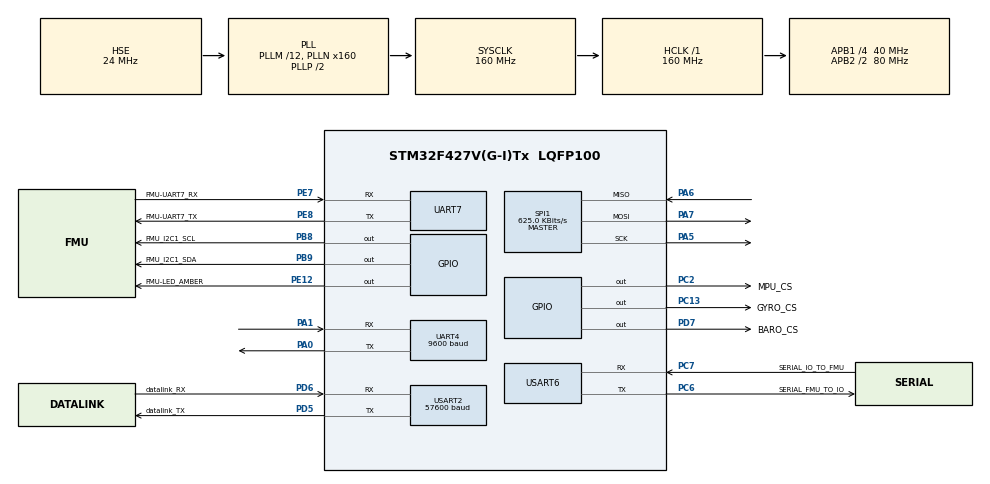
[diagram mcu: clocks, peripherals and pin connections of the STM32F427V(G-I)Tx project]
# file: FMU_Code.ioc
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Dma.Request0=UART4_RX
Dma.Request1=UART7_RX
Dma.Request2=USART6_RX
Dma.Request3=USART6_TX
Dma.Request4=USART2_RX
Dma.Request5=USART2_TX
Dma.UART4_RX.0.Direction=DMA_PERIPH_TO_MEMORY
Dma.UART4_RX.0.FIFOMode=DMA_FIFOMODE_DISABLE
Dma.UART4_RX.0.Instance=DMA1_Stream2
Dma.UART4_RX.0.MemDataAlignment=DMA_MDATAALIGN_BYTE
Dma.UART4_RX.0.MemInc=DMA_MINC_ENABLE
Dma.UART4_RX.0.Mode=DMA_CIRCULAR
Dma.UART4_RX.0.PeriphDataAlignment=DMA_PDATAALIGN_BYTE
Dma.UART4_RX.0.PeriphInc=DMA_PINC_DISABLE
Dma.UART4_RX.0.Priority=DMA_PRIORITY_MEDIUM
Dma.UART7_RX.1.Direction=DMA_PERIPH_TO_MEMORY
Dma.UART7_RX.1.FIFOMode=DMA_FIFOMODE_DISABLE
Dma.UART7_RX.1.Instance=DMA1_Stream3
Dma.UART7_RX.1.MemDataAlignment=DMA_MDATAALIGN_BYTE
Dma.UART7_RX.1.MemInc=DMA_MINC_ENABLE
Dma.UART7_RX.1.Mode=DMA_CIRCULAR
Dma.UART7_RX.1.PeriphDataAlignment=DMA_PDATAALIGN_BYTE
Dma.UART7_RX.1.PeriphInc=DMA_PINC_DISABLE
Dma.UART7_RX.1.Priority=DMA_PRIORITY_LOW
Dma.USART2_RX.4.Direction=DMA_PERIPH_TO_MEMORY
Dma.USART2_RX.4.FIFOMode=DMA_FIFOMODE_DISABLE
Dma.USART2_RX.4.Instance=DMA1_Stream5
Dma.USART2_RX.4.MemDataAlignment=DMA_MDATAALIGN_BYTE
Dma.USART2_RX.4.MemInc=DMA_MINC_ENABLE
Dma.USART2_RX.4.Mode=DMA_CIRCULAR
Dma.USART2_RX.4.PeriphDataAlignment=DMA_PDATAALIGN_BYTE
Dma.USART2_RX.4.PeriphInc=DMA_PINC_DISABLE
Dma.USART2_RX.4.Priority=DMA_PRIORITY_HIGH
Dma.USART2_TX.5.Direction=DMA_MEMORY_TO_PERIPH
Dma.USART2_TX.5.FIFOMode=DMA_FIFOMODE_DISABLE
Dma.USART2_TX.5.Instance=DMA1_Stream6
Dma.USART2_TX.5.MemDataAlignment=DMA_MDATAALIGN_BYTE
Dma.USART2_TX.5.MemInc=DMA_MINC_ENABLE
Dma.USART2_TX.5.Mode=DMA_NORMAL
Dma.USART2_TX.5.PeriphDataAlignment=DMA_PDATAALIGN_BYTE
Dma.USART2_TX.5.PeriphInc=DMA_PINC_DISABLE
Dma.USART2_TX.5.Priority=DMA_PRIORITY_HIGH
Dma.USART6_RX.2.Direction=DMA_PERIPH_TO_MEMORY
Dma.USART6_RX.2.FIFOMode=DMA_FIFOMODE_DISABLE
Dma.USART6_RX.2.Instance=DMA2_Stream1
Dma.USART6_RX.2.MemDataAlignment=DMA_MDATAALIGN_BYTE
Dma.USART6_RX.2.MemInc=DMA_MINC_ENABLE
Dma.USART6_RX.2.Mode=DMA_CIRCULAR
Dma.USART6_RX.2.PeriphDataAlignment=DMA_PDATAALIGN_BYTE
Dma.USART6_RX.2.PeriphInc=DMA_PINC_DISABLE
Dma.USART6_RX.2.Priority=DMA_PRIORITY_VERY_HIGH
Dma.USART6_TX.3.Direction=DMA_MEMORY_TO_PERIPH
Dma.USART6_TX.3.FIFOMode=DMA_FIFOMODE_DISABLE
Dma.USART6_TX.3.Instance=DMA2_Stream6
Dma.USART6_TX.3.MemDataAlignment=DMA_MDATAALIGN_BYTE
Dma.USART6_TX.3.MemInc=DMA_MINC_ENABLE
Dma.USART6_TX.3.Mode=DMA_NORMAL
Dma.USART6_TX.3.PeriphDataAlignment=DMA_PDATAALIGN_BYTE
Dma.USART6_TX.3.PeriphInc=DMA_PINC_DISABLE
Dma.USART6_TX.3.Priority=DMA_PRIORITY_VERY_HIGH
Mcu.Family=STM32F4
Mcu.Name=STM32F427V(G-I)Tx
Mcu.Package=LQFP100
NVIC.DMA1_Stream2_IRQn=true\:0\:0\:false\:false\:true\:false\:true
NVIC.DMA1_Stream3_IRQn=true\:0\:0\:false\:false\:true\:false\:true
NVIC.DMA1_Stream5_IRQn=true\:0\:0\:false\:false\:true\:false\:true
NVIC.DMA1_Stream6_IRQn=true\:0\:0\:false\:false\:true\:false\:true
NVIC.DMA2_Stream1_IRQn=true\:0\:0\:false\:false\:true\:false\:true
NVIC.DMA2_Stream6_IRQn=true\:0\:0\:false\:false\:true\:false\:true
NVIC.PriorityGroup=NVIC_PRIORITYGROUP_2
NVIC.TIM6_DAC_IRQn=true\:0\:0\:false\:false\:true\:true\:true
NVIC.UART4_IRQn=true\:0\:1\:false\:false\:true\:true\:true
NVIC.UART7_IRQn=true\:0\:2\:false\:false\:true\:true\:true
NVIC.USART2_IRQn=true\:1\:0\:true\:false\:true\:true\:true
NVIC.USART6_IRQn=true\:0\:1\:false\:false\:true\:true\:true
PA0/WKUP.Mode=Asynchronous
PA0/WKUP.Signal=UART4_TX
PA1.Mode=Asynchronous
PA1.Signal=UART4_RX
PA13.Mode=Trace_Asynchronous_SW
PA13.Signal=SYS_JTMS-SWDIO
PA14.Mode=Trace_Asynchronous_SW
PA14.Signal=SYS_JTCK-SWCLK
PA5.Mode=Full_Duplex_Master
PA5.Signal=SPI1_SCK
PA6.Mode=Full_Duplex_Master
PA6.Signal=SPI1_MISO
PA7.Mode=Full_Duplex_Master
PA7.Signal=SPI1_MOSI
PB3.Mode=Trace_Asynchronous_SW
PB3.Signal=SYS_JTDO-SWO
PB8.GPIO_Label=FMU_I2C1_SCL
PB8.Signal=GPIO_Output
PB9.GPIO_Label=FMU_I2C1_SDA
PB9.Signal=GPIO_Output
PC13.GPIO_Label=GYRO_CS
PC13.PinState=GPIO_PIN_SET
PC13.Signal=GPIO_Output
PC2.GPIO_Label=MPU_CS
PC2.PinState=GPIO_PIN_SET
PC2.Signal=GPIO_Output
PC6.GPIO_Label=SERIAL_FMU_TO_IO
PC6.Mode=Asynchronous
PC6.Signal=USART6_TX
PC7.GPIO_Label=SERIAL_IO_TO_FMU
PC7.Mode=Asynchronous
PC7.Signal=USART6_RX
PD5.GPIO_Label=datalink_TX
PD5.Mode=Asynchronous
PD5.Signal=USART2_TX
PD6.GPIO_Label=datalink_RX
PD6.Mode=Asynchronous
PD6.Signal=USART2_RX
PD7.GPIO_Label=BARO_CS
PD7.PinState=GPIO_PIN_SET
PD7.Signal=GPIO_Output
PE0.GPIO_Label=FMU_UART8_RX
PE0.Signal=UART8_RX
PE1.GPIO_Label=FMU_UART_TX
PE1.Signal=UART8_TX
PE12.GPIO_Label=FMU-LED_AMBER
PE12.GPIO_Speed=GPIO_SPEED_FREQ_MEDIUM
PE12.PinState=GPIO_PIN_SET
PE12.Signal=GPIO_Output
PE7.GPIO_Label=FMU-UART7_RX
PE7.Mode=Asynchronous
PE7.Signal=UART7_RX
PE8.GPIO_Label=FMU-UART7_TX
PE8.Mode=Asynchronous
PE8.Signal=UART7_TX
PH0/OSC_IN.Mode=HSE-External-Oscillator
PH0/OSC_IN.Signal=RCC_OSC_IN
PH1/OSC_OUT.Mode=HSE-External-Oscillator
PH1/OSC_OUT.Signal=RCC_OSC_OUT
ProjectManager.HeapSize=0x200
ProjectManager.StackSize=0x400
ProjectManager.TargetToolchain=MDK-ARM V5
RCC.48MHZClocksFreq_Value=80000000
RCC.AHBFreq_Value=160000000
RCC.APB1CLKDivider=RCC_HCLK_DIV4
RCC.APB1Freq_Value=40000000
RCC.APB1TimFreq_Value=80000000
RCC.APB2CLKDivider=RCC_HCLK_DIV2
RCC.APB2Freq_Value=80000000
RCC.APB2TimFreq_Value=160000000
RCC.CortexFreq_Value=160000000
RCC.HCLKFreq_Value=160000000
RCC.HSE_VALUE=24000000
RCC.HSI_VALUE=16000000
RCC.LSE_VALUE=32768
RCC.PLLM=12
RCC.PLLN=160
RCC.PLLSourceVirtual=RCC_PLLSOURCE_HSE
RCC.SYSCLKFreq_VALUE=160000000
RCC.SYSCLKSource=RCC_SYSCLKSOURCE_PLLCLK
RCC.VCOOutputFreq_Value=320000000
SPI1.BaudRatePrescaler=SPI_BAUDRATEPRESCALER_128
SPI1.CLKPhase=SPI_PHASE_2EDGE
SPI1.CLKPolarity=SPI_POLARITY_HIGH
SPI1.CalculateBaudRate=625.0 KBits/s
SPI1.Direction=SPI_DIRECTION_2LINES
SPI1.Mode=SPI_MODE_MASTER
SPI1.VirtualType=VM_MASTER
TIM6.AutoReloadPreload=TIM_AUTORELOAD_PRELOAD_ENABLE
TIM6.Period=999
TIM6.Prescaler=79
UART4.BaudRate=9600
UART4.VirtualMode=Asynchronous
UART7.VirtualMode=Asynchronous
USART2.BaudRate=57600
USART2.VirtualMode=VM_ASYNC
USART6.VirtualMode=VM_ASYNC
VP_TIM6_VS_ClockSourceINT.Mode=Enable_Timer
board=custom

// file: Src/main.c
/* USER CODE BEGIN Header */
/**
  ******************************************************************************
  * @file           : main.c
  * @brief          : Main program body
  ******************************************************************************
  * @attention
  *
  * <h2><center>&copy; Copyright (c) 2020 STMicroelectronics.
  * All rights reserved.</center></h2>
  *
  * This software component is licensed by ST under BSD 3-Clause license,
  * the "License"; You may not use this file except in compliance with the
  * License. You may obtain a copy of the License at:
  *                        opensource.org/licenses/BSD-3-Clause
  *
  ******************************************************************************
  */
/* USER CODE END Header */

#include "main.h"
#include "dma.h"
#include "spi.h"
#include "tim.h"
#include "usart.h"
#include "gpio.h"

/* USER CODE BEGIN Includes */
#include "md_include.h"
#include "mavlink.h"
#include "example.h"
#include "sensor.h"
#include "attitude_estimator_mahony.h"
#include "position_estimator_inav.h"
#include "scheduler.h"
#include "Mag_calibration.h"
#include "rc_process.h"
#include "ANO.h"
#include "filter.h"
/* USER CODE END Includes */

void SystemClock_Config(void);

/* USER CODE BEGIN 0 */

__IO ITStatus Timer6UpdateReady = RESET;
uint16_t Main_1000HZ_Timer_Counter = 0;

/*�޸Ĵ�����Ϊ����ѡ���м���--gnu�������뻷����CC_ARM�����Ա��뱣֤������CC_ARMѡ�ͱ���*/
#if defined ( __CC_ARM )
#define PUTCHAR_PROTOTYPE int fputc(int ch, FILE *f)
#elif defined (__GNUC__)
#define PUTCHAR_PROTOTYPE int __io_putchar(int ch)
#else
#define PUTCHAR_PROTOTYPE int fputc(int ch, FILE *f)
#endif

uint8_t flag = 1;
uint32_t testcnt = 0;

P_LowPassFilter1p Baro_Lp;
float barolp = 0.0f;

/* USER CODE END 0 */

int main(void)
{

  /* MCU Configuration--------------------------------------------------------*/

  /* Reset of all peripherals, Initializes the Flash interface and the Systick. */
  HAL_Init();

  /* Configure the system clock */
  SystemClock_Config();

  /* Initialize all configured peripherals */
  MX_GPIO_Init();
  MX_DMA_Init();
  MX_SPI1_Init();
  MX_TIM6_Init();
  MX_UART4_Init();
  MX_UART7_Init();
  MX_USART2_UART_Init();
  MX_USART6_UART_Init();
  /* USER CODE BEGIN 2 */
	HAL_Delay(2000);
	GPS_Init();
	MPU6000_Init();
	Baro_Init();
	HMC5883_Init();
	HAL_TIM_Base_Start_IT(&htim6);
	Mavlink_Init();
	Com_TwoBoard_Init();
	Get_Gyro_Offset();
	Filter_init();
	HAL_Delay(100);

	Get_calibration_offset();
  /* USER CODE END 2 */

  /* Infinite loop */
  while (1)
  {

    /* USER CODE BEGIN 3 */
		if(Timer6UpdateReady == SET)
		{
			Timer6UpdateReady = RESET;
			Main_1000HZ_Timer_Counter++;
			Main_1000HZ_Timer_Counter = Main_1000HZ_Timer_Counter >= 1000 ? 0 : Main_1000HZ_Timer_Counter;

			//1000hz����

			if(Main_1000HZ_Timer_Counter % 2 == 0)   //500hz ����
			{

				Loop_Read_MPU6000();
				IMU_Data_Combine();
//				mavlink_test();

				RCDataProcess();
				SystemStateUpdate();
				Control_Scheduler();

//				testcnt++;
			}

			if(Main_1000HZ_Timer_Counter % 5 == 0)   //200hz ����
			{
				imuCalculateEstimatedAttitude();
				Loop_Read_Bar();
				Loop_Read_Mag();
			}

			if(Main_1000HZ_Timer_Counter % 20 == 0)   //50hz ����
			{
				BARO_Alt = Get_Baro_Alt(m_Ms56xx.pressure);
				barolp = LowPassFilter1p(&Baro_Lp,BARO_Alt,5,0.02);
				position_estimator_inav_update();
				MagCail_Trig();
				Mag_Calibration_update();
				FCS2Ground_Transmit();
			}

			if(Main_1000HZ_Timer_Counter % 50 == 0)  //20hz����
			{
//				set_mRed_State(Red_ON_Lighting);
				LED_Handler();

//				if(flag == 1)
//				{
//					Save_Cali_parameter();
//					flag = 0;
//				}

			}

		}

		Loop_GPS_Parse();
//		Loop_Mavlink_Parse();
//		Example_Exchage_COM();
		Com_TwoBoard_RB_Update();
  }
  /* USER CODE END 3 */
}

void SystemClock_Config(void)
{
  RCC_OscInitTypeDef RCC_OscInitStruct = {0};
  RCC_ClkInitTypeDef RCC_ClkInitStruct = {0};

  /** Configure the main internal regulator output voltage
  */
  __HAL_RCC_PWR_CLK_ENABLE();
  __HAL_PWR_VOLTAGESCALING_CONFIG(PWR_REGULATOR_VOLTAGE_SCALE1);
  /** Initializes the CPU, AHB and APB busses clocks
  */
  RCC_OscInitStruct.OscillatorType = RCC_OSCILLATORTYPE_HSE;
  RCC_OscInitStruct.HSEState = RCC_HSE_ON;
  RCC_OscInitStruct.PLL.PLLState = RCC_PLL_ON;
  RCC_OscInitStruct.PLL.PLLSource = RCC_PLLSOURCE_HSE;
  RCC_OscInitStruct.PLL.PLLM = 12;
  RCC_OscInitStruct.PLL.PLLN = 160;
  RCC_OscInitStruct.PLL.PLLP = RCC_PLLP_DIV2;
  RCC_OscInitStruct.PLL.PLLQ = 4;
  if (HAL_RCC_OscConfig(&RCC_OscInitStruct) != HAL_OK)
  {
    Error_Handler();
  }
  /** Initializes the CPU, AHB and APB busses clocks
  */
  RCC_ClkInitStruct.ClockType = RCC_CLOCKTYPE_HCLK|RCC_CLOCKTYPE_SYSCLK
                              |RCC_CLOCKTYPE_PCLK1|RCC_CLOCKTYPE_PCLK2;
  RCC_ClkInitStruct.SYSCLKSource = RCC_SYSCLKSOURCE_PLLCLK;
  RCC_ClkInitStruct.AHBCLKDivider = RCC_SYSCLK_DIV1;
  RCC_ClkInitStruct.APB1CLKDivider = RCC_HCLK_DIV4;
  RCC_ClkInitStruct.APB2CLKDivider = RCC_HCLK_DIV2;

  if (HAL_RCC_ClockConfig(&RCC_ClkInitStruct, FLASH_LATENCY_5) != HAL_OK)
  {
    Error_Handler();
  }
}

/* USER CODE BEGIN 4 */

PUTCHAR_PROTOTYPE
{
//  /* Place your implementation of fputc here ??*/
//  /* e.g. write a character to the EVAL_COM1 and Loop until the end of transmission */
//  HAL_UART_Transmit(&huart7, (uint8_t *)&ch, 1, 0xFFFF);
//  return ch;
	return 0;
}

/**
  * @brief  Period elapsed callback in non blocking mode
  * @param  htim: TIM handle
  * @retval None
  */
void HAL_TIM_PeriodElapsedCallback(TIM_HandleTypeDef *htim)
{
	Timer6UpdateReady = SET;
}

void HAL_UART_TxCpltCallback(UART_HandleTypeDef *UartHandle)
{
if(UartHandle->Instance == USART6)
	{
	  Com_TwoBoard_TX_InterruptHandler();
	}
}

void HAL_UART_RxCpltCallback(UART_HandleTypeDef *UartHandle)
{
  /* Set transmission flag: trasfer complete*/
  if(UartHandle->Instance == UART4)
	{
	  GPS_RX_InterruptHandler();
	}

	if(UartHandle->Instance == UART8)
	{
		//Mavlin_RX_InterruptHandler();
	}

	if(UartHandle->Instance == USART6)
	{
	  Com_TwoBoard_RX_InterruptHandler();
	}
}

/* USER CODE END 4 */

void Error_Handler(void)
{
}

/************************ (C) COPYRIGHT STMicroelectronics *****END OF FILE****/
